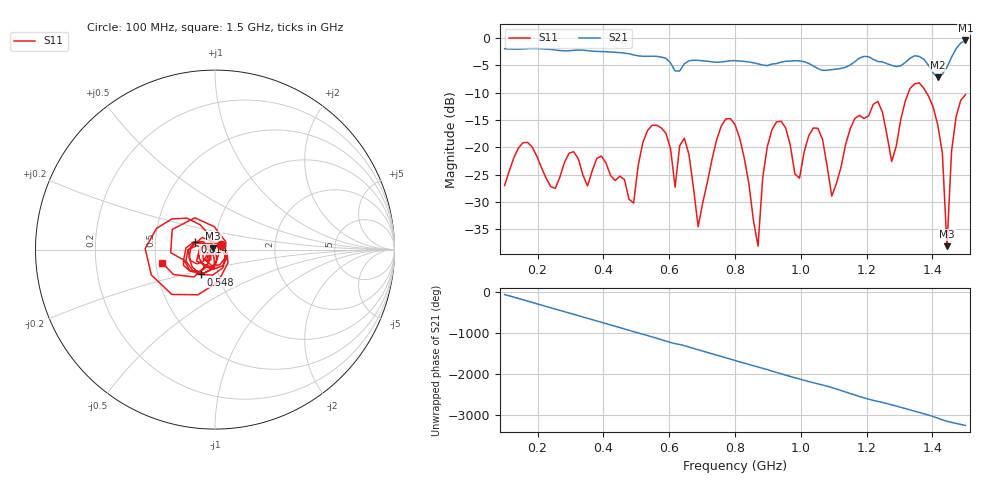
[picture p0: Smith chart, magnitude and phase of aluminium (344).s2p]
! NanoVNA-App
! Date: 2025-09-25 14:57:57
! Start: 100MHz Stop: 1,5GHz Points: 101
! S-Parameter data: F S11 S21 S12 S22
# Hz S RI R 50
!  Frequency  S11_Real  S11_Imag  S21_Real  S21_Imag  S12_Real  S12_Imag  S22_Real  S22_Imag
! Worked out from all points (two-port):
!   101 points, 100 MHz to 1.5 GHz, reference 50 ohm
!   highest |S21| = -0.42 dB at 1.5 GHz (marker M1); lowest = -7.2 dB at 1.416 GHz (marker M2)
!   |S21| within 3 dB of the highest: start of sweep to 571.5 MHz; 1.459 GHz to end of sweep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
!   lowest |S11| = -38.1 dB at 1.444 GHz (marker M3), VSWR 1.03, Z = 49 + j0.788 ohm
!   |S11| at or under -10 dB: start of sweep to 1.327 GHz; 1.382 GHz to end of sweep
!   S12 and S22 are empty: the file has one direction only
!   S11 on the Smith chart (normalised r, x): 100 MHz: 1.07, +0.06; 548 MHz: 0.82, -0.23; 814 MHz: 0.79, +0.07; 1.5 GHz: 0.54, -0.09
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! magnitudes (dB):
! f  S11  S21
! 100 MHz  -27.0  -1.9
! 338 MHz  -25.1  -2.2
! 492 MHz  -30.2  -3.1
! 548 MHz  -16.0  -3.3
! 576 MHz  -16.4  -3.5
! 618 MHz  -27.3  -6.0
! 646 MHz  -18.3  -4.7
! 688 MHz  -34.5  -4.1
! 800 MHz  -15.8  -4.1
! 814 MHz  -18.2  -4.2
! 870 MHz  -38.1  -4.7
! 912 MHz  -16.8  -4.7
! 996 MHz  -25.6  -4.2
! 1.038 GHz  -16.4  -5.1
! 1.094 GHz  -28.9  -5.8
! 1.234 GHz  -11.6  -4.3
! 1.276 GHz  -22.6  -5.0
! 1.346 GHz  -8.4  -3.2
! 1.416 GHz  -15.9  -7.2
! 1.444 GHz  -38.1  -5.3
! 1.458 GHz  -20.7  -3.5
! 1.5 GHz  -10.4  -0.4
